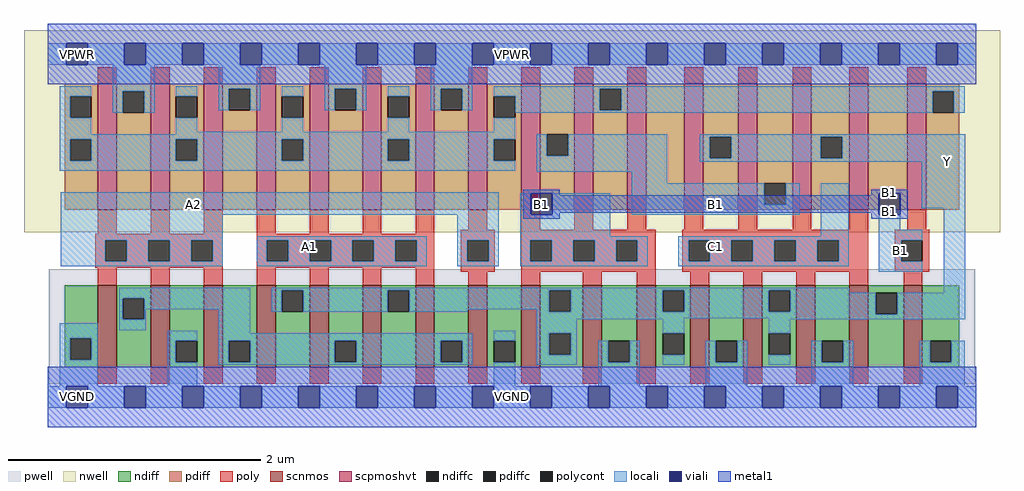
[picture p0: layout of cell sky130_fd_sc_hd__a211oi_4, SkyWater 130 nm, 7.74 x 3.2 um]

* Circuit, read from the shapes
.subckt sky130_fd_sc_hd__a211oi_4 A1 A2 B1 C1 VGND VNB VPB VPWR Y
XM1 n1 A2 VGND VNB sky130_fd_pr__nfet_01v8 w=0.65 l=0.15 m=4
XM2 Y A1 n1 VNB sky130_fd_pr__nfet_01v8 w=0.65 l=0.15 m=4
XM3 Y B1 VGND VNB sky130_fd_pr__nfet_01v8 w=0.65 l=0.15 m=4
XM4 VGND C1 Y VNB sky130_fd_pr__nfet_01v8 w=0.65 l=0.15 m=4
XM5 VPWR A2 n2 VPB sky130_fd_pr__pfet_01v8_hvt w=1 l=0.15 m=4
XM6 n2 A1 VPWR VPB sky130_fd_pr__pfet_01v8_hvt w=1 l=0.15 m=4
XM7 n3 B1 n2 VPB sky130_fd_pr__pfet_01v8_hvt w=1 l=0.15 m=2
XM8 n4 B1 n2 VPB sky130_fd_pr__pfet_01v8_hvt w=1 l=0.15
XM9 Y C1 n4 VPB sky130_fd_pr__pfet_01v8_hvt w=1 l=0.15
XM10 n3 C1 Y VPB sky130_fd_pr__pfet_01v8_hvt w=1 l=0.15 m=2
XM11 n5 C1 Y VPB sky130_fd_pr__pfet_01v8_hvt w=1 l=0.15
XM12 n2 B1 n5 VPB sky130_fd_pr__pfet_01v8_hvt w=1 l=0.15
.ends

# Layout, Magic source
magic
tech sky130A
magscale 1 2
<< nwell >>
rect -38 261 1510 582
<< pwell >>
rect 1 21 1471 203
rect 30 -17 64 21
<< scnmos >>
rect 79 47 109 177
rect 163 47 193 177
rect 247 47 277 177
rect 331 47 361 177
rect 415 47 445 177
rect 499 47 529 177
rect 583 47 613 177
rect 667 47 697 177
rect 751 47 781 177
rect 848 47 878 177
rect 934 47 964 177
rect 1019 47 1049 177
rect 1103 47 1133 177
rect 1187 47 1217 177
rect 1271 47 1301 177
rect 1357 47 1387 177
<< scpmoshvt >>
rect 79 297 109 497
rect 163 297 193 497
rect 247 297 277 497
rect 331 297 361 497
rect 415 297 445 497
rect 499 297 529 497
rect 583 297 613 497
rect 667 297 697 497
rect 751 297 781 497
rect 835 297 865 497
rect 919 297 949 497
rect 1009 297 1039 497
rect 1095 297 1125 497
rect 1181 297 1211 497
rect 1271 297 1301 497
rect 1363 297 1393 497
<< ndiff >>
rect 27 93 79 177
rect 27 59 35 93
rect 69 59 79 93
rect 27 47 79 59
rect 109 157 163 177
rect 109 123 119 157
rect 153 123 163 157
rect 109 47 163 123
rect 193 89 247 177
rect 193 55 203 89
rect 237 55 247 89
rect 193 47 247 55
rect 277 89 331 177
rect 277 55 287 89
rect 321 55 331 89
rect 277 47 331 55
rect 361 169 415 177
rect 361 135 371 169
rect 405 135 415 169
rect 361 47 415 135
rect 445 89 499 177
rect 445 55 455 89
rect 489 55 499 89
rect 445 47 499 55
rect 529 169 583 177
rect 529 135 539 169
rect 573 135 583 169
rect 529 47 583 135
rect 613 89 667 177
rect 613 55 623 89
rect 657 55 667 89
rect 613 47 667 55
rect 697 89 751 177
rect 697 55 707 89
rect 741 55 751 89
rect 697 47 751 55
rect 781 169 848 177
rect 781 135 795 169
rect 829 135 848 169
rect 781 101 848 135
rect 781 67 795 101
rect 829 67 848 101
rect 781 47 848 67
rect 878 89 934 177
rect 878 55 889 89
rect 923 55 934 89
rect 878 47 934 55
rect 964 169 1019 177
rect 964 135 975 169
rect 1009 135 1019 169
rect 964 101 1019 135
rect 964 67 975 101
rect 1009 67 1019 101
rect 964 47 1019 67
rect 1049 89 1103 177
rect 1049 55 1059 89
rect 1093 55 1103 89
rect 1049 47 1103 55
rect 1133 169 1187 177
rect 1133 135 1143 169
rect 1177 135 1187 169
rect 1133 101 1187 135
rect 1133 67 1143 101
rect 1177 67 1187 101
rect 1133 47 1187 67
rect 1217 89 1271 177
rect 1217 55 1227 89
rect 1261 55 1271 89
rect 1217 47 1271 55
rect 1301 165 1357 177
rect 1301 131 1313 165
rect 1347 131 1357 165
rect 1301 47 1357 131
rect 1387 89 1445 177
rect 1387 55 1399 89
rect 1433 55 1445 89
rect 1387 47 1445 55
<< pdiff >>
rect 27 477 79 497
rect 27 443 35 477
rect 69 443 79 477
rect 27 409 79 443
rect 27 375 35 409
rect 69 375 79 409
rect 27 297 79 375
rect 109 485 163 497
rect 109 451 119 485
rect 153 451 163 485
rect 109 297 163 451
rect 193 477 247 497
rect 193 443 203 477
rect 237 443 247 477
rect 193 409 247 443
rect 193 375 203 409
rect 237 375 247 409
rect 193 297 247 375
rect 277 489 331 497
rect 277 455 287 489
rect 321 455 331 489
rect 277 297 331 455
rect 361 477 415 497
rect 361 443 371 477
rect 405 443 415 477
rect 361 409 415 443
rect 361 375 371 409
rect 405 375 415 409
rect 361 297 415 375
rect 445 489 499 497
rect 445 455 455 489
rect 489 455 499 489
rect 445 297 499 455
rect 529 477 583 497
rect 529 443 539 477
rect 573 443 583 477
rect 529 409 583 443
rect 529 375 539 409
rect 573 375 583 409
rect 529 297 583 375
rect 613 489 667 497
rect 613 455 623 489
rect 657 455 667 489
rect 613 297 667 455
rect 697 477 751 497
rect 697 443 707 477
rect 741 443 751 477
rect 697 409 751 443
rect 697 375 707 409
rect 741 375 751 409
rect 697 297 751 375
rect 781 417 835 497
rect 781 383 791 417
rect 825 383 835 417
rect 781 297 835 383
rect 865 489 919 497
rect 865 455 875 489
rect 909 455 919 489
rect 865 297 919 455
rect 949 297 1009 497
rect 1039 413 1095 497
rect 1039 379 1050 413
rect 1084 379 1095 413
rect 1039 297 1095 379
rect 1125 339 1181 497
rect 1125 305 1136 339
rect 1170 305 1181 339
rect 1125 297 1181 305
rect 1211 413 1271 497
rect 1211 379 1226 413
rect 1260 379 1271 413
rect 1211 297 1271 379
rect 1301 297 1363 497
rect 1393 485 1445 497
rect 1393 451 1403 485
rect 1437 451 1445 485
rect 1393 297 1445 451
<< ndiffc >>
rect 35 59 69 93
rect 119 123 153 157
rect 203 55 237 89
rect 287 55 321 89
rect 371 135 405 169
rect 455 55 489 89
rect 539 135 573 169
rect 623 55 657 89
rect 707 55 741 89
rect 795 135 829 169
rect 795 67 829 101
rect 889 55 923 89
rect 975 135 1009 169
rect 975 67 1009 101
rect 1059 55 1093 89
rect 1143 135 1177 169
rect 1143 67 1177 101
rect 1227 55 1261 89
rect 1313 131 1347 165
rect 1399 55 1433 89
<< pdiffc >>
rect 35 443 69 477
rect 35 375 69 409
rect 119 451 153 485
rect 203 443 237 477
rect 203 375 237 409
rect 287 455 321 489
rect 371 443 405 477
rect 371 375 405 409
rect 455 455 489 489
rect 539 443 573 477
rect 539 375 573 409
rect 623 455 657 489
rect 707 443 741 477
rect 707 375 741 409
rect 791 383 825 417
rect 875 455 909 489
rect 1050 379 1084 413
rect 1136 305 1170 339
rect 1226 379 1260 413
rect 1403 451 1437 485
<< poly >>
rect 79 497 109 523
rect 163 497 193 523
rect 247 497 277 523
rect 331 497 361 523
rect 415 497 445 523
rect 499 497 529 523
rect 583 497 613 523
rect 667 497 697 523
rect 751 497 781 523
rect 835 497 865 523
rect 919 497 949 523
rect 1009 497 1039 523
rect 1095 497 1125 523
rect 1181 497 1211 523
rect 1271 497 1301 523
rect 1363 497 1393 523
rect 79 259 109 297
rect 163 259 193 297
rect 247 259 277 297
rect 75 249 277 259
rect 75 215 91 249
rect 125 215 159 249
rect 193 215 227 249
rect 261 215 277 249
rect 75 205 277 215
rect 79 177 109 205
rect 163 177 193 205
rect 247 177 277 205
rect 331 259 361 297
rect 415 259 445 297
rect 499 259 529 297
rect 583 259 613 297
rect 667 265 697 297
rect 751 265 781 297
rect 835 265 865 297
rect 919 265 949 297
rect 1009 265 1039 297
rect 1095 265 1125 297
rect 1181 265 1211 297
rect 1271 265 1301 297
rect 1363 265 1393 297
rect 331 249 613 259
rect 331 215 347 249
rect 381 215 415 249
rect 449 215 483 249
rect 517 215 551 249
rect 585 215 613 249
rect 331 205 613 215
rect 331 177 361 205
rect 415 177 445 205
rect 499 177 529 205
rect 583 177 613 205
rect 655 249 709 265
rect 655 215 665 249
rect 699 215 709 249
rect 655 199 709 215
rect 751 249 964 265
rect 751 215 765 249
rect 799 215 833 249
rect 867 215 901 249
rect 935 215 964 249
rect 751 199 964 215
rect 1006 249 1301 265
rect 1006 215 1016 249
rect 1050 215 1084 249
rect 1118 215 1152 249
rect 1186 215 1220 249
rect 1254 215 1301 249
rect 1006 199 1301 215
rect 1343 249 1398 265
rect 1343 215 1353 249
rect 1387 215 1398 249
rect 1343 199 1398 215
rect 667 177 697 199
rect 751 177 781 199
rect 848 177 878 199
rect 934 177 964 199
rect 1019 177 1049 199
rect 1103 177 1133 199
rect 1187 177 1217 199
rect 1271 177 1301 199
rect 1357 177 1387 199
rect 79 21 109 47
rect 163 21 193 47
rect 247 21 277 47
rect 331 21 361 47
rect 415 21 445 47
rect 499 21 529 47
rect 583 21 613 47
rect 667 21 697 47
rect 751 21 781 47
rect 848 21 878 47
rect 934 21 964 47
rect 1019 21 1049 47
rect 1103 21 1133 47
rect 1187 21 1217 47
rect 1271 21 1301 47
rect 1357 21 1387 47
<< polycont >>
rect 91 215 125 249
rect 159 215 193 249
rect 227 215 261 249
rect 347 215 381 249
rect 415 215 449 249
rect 483 215 517 249
rect 551 215 585 249
rect 665 215 699 249
rect 765 215 799 249
rect 833 215 867 249
rect 901 215 935 249
rect 1016 215 1050 249
rect 1084 215 1118 249
rect 1152 215 1186 249
rect 1220 215 1254 249
rect 1353 215 1387 249
<< locali >>
rect 0 527 29 561
rect 63 527 121 561
rect 155 527 213 561
rect 247 527 305 561
rect 339 527 397 561
rect 431 527 489 561
rect 523 527 581 561
rect 615 527 673 561
rect 707 527 765 561
rect 799 527 857 561
rect 891 527 949 561
rect 983 527 1041 561
rect 1075 527 1133 561
rect 1167 527 1225 561
rect 1259 527 1317 561
rect 1351 527 1409 561
rect 1443 527 1472 561
rect 19 477 69 493
rect 19 443 35 477
rect 103 485 169 527
rect 103 451 119 485
rect 153 451 169 485
rect 203 477 237 493
rect 19 417 69 443
rect 271 489 337 527
rect 271 455 287 489
rect 321 455 337 489
rect 371 477 405 493
rect 203 421 237 443
rect 439 489 505 527
rect 439 455 455 489
rect 489 455 505 489
rect 539 477 573 493
rect 371 421 405 443
rect 607 489 673 527
rect 607 455 623 489
rect 657 455 673 489
rect 707 489 1454 493
rect 707 477 875 489
rect 539 421 573 443
rect 741 455 875 477
rect 909 485 1454 489
rect 909 455 1403 485
rect 741 451 1403 455
rect 1437 451 1454 485
rect 707 421 741 443
rect 203 417 741 421
rect 19 409 741 417
rect 19 375 35 409
rect 69 375 203 409
rect 237 375 371 409
rect 405 375 539 409
rect 573 375 707 409
rect 19 359 741 375
rect 775 383 791 417
rect 825 383 982 417
rect 775 357 982 383
rect 1034 413 1455 417
rect 1034 379 1050 413
rect 1084 379 1226 413
rect 1260 379 1455 413
rect 1034 373 1455 379
rect 926 339 982 357
rect 20 289 715 325
rect 20 249 277 289
rect 332 249 601 255
rect 20 215 91 249
rect 125 215 159 249
rect 193 215 227 249
rect 261 215 277 249
rect 331 215 347 249
rect 381 215 415 249
rect 449 215 483 249
rect 517 215 551 249
rect 585 215 601 249
rect 20 207 277 215
rect 332 207 601 215
rect 649 249 715 289
rect 649 215 665 249
rect 699 215 715 249
rect 649 207 715 215
rect 749 289 766 323
rect 800 289 892 323
rect 926 305 1136 339
rect 1170 305 1192 339
rect 926 289 1192 305
rect 749 255 892 289
rect 1226 255 1270 339
rect 749 249 951 255
rect 749 215 765 249
rect 799 215 833 249
rect 867 215 901 249
rect 935 215 951 249
rect 749 207 951 215
rect 1000 249 1270 255
rect 1000 215 1016 249
rect 1050 215 1084 249
rect 1118 215 1152 249
rect 1186 215 1220 249
rect 1254 215 1270 249
rect 1000 207 1270 215
rect 1386 299 1455 373
rect 1318 265 1352 289
rect 1318 249 1387 265
rect 1318 215 1353 249
rect 1318 199 1387 215
rect 113 157 321 173
rect 113 123 119 157
rect 153 139 321 157
rect 153 123 155 139
rect 19 93 79 117
rect 113 106 155 123
rect 19 59 35 93
rect 69 59 79 93
rect 19 17 79 59
rect 190 89 237 105
rect 190 55 203 89
rect 190 17 237 55
rect 271 101 321 139
rect 355 169 1271 173
rect 355 135 371 169
rect 405 135 539 169
rect 573 139 795 169
rect 573 135 666 139
rect 775 135 795 139
rect 829 135 975 169
rect 1009 135 1143 169
rect 1177 165 1271 169
rect 1421 165 1455 299
rect 1177 135 1313 165
rect 775 131 1313 135
rect 1347 131 1455 165
rect 775 125 1455 131
rect 775 123 1009 125
rect 271 89 673 101
rect 271 55 287 89
rect 321 55 455 89
rect 489 55 623 89
rect 657 55 673 89
rect 271 51 673 55
rect 707 89 741 105
rect 707 17 741 55
rect 775 101 839 123
rect 775 67 795 101
rect 829 67 839 101
rect 975 101 1009 123
rect 775 51 839 67
rect 873 55 889 89
rect 923 55 939 89
rect 873 17 939 55
rect 1143 123 1455 125
rect 1143 101 1177 123
rect 975 51 1009 67
rect 1043 55 1059 89
rect 1093 55 1109 89
rect 1043 17 1109 55
rect 1143 51 1177 67
rect 1211 55 1227 89
rect 1261 55 1277 89
rect 1211 17 1277 55
rect 1383 55 1399 89
rect 1433 55 1454 89
rect 1383 17 1454 55
rect 0 -17 29 17
rect 63 -17 121 17
rect 155 -17 213 17
rect 247 -17 305 17
rect 339 -17 397 17
rect 431 -17 489 17
rect 523 -17 581 17
rect 615 -17 673 17
rect 707 -17 765 17
rect 799 -17 857 17
rect 891 -17 949 17
rect 983 -17 1041 17
rect 1075 -17 1133 17
rect 1167 -17 1225 17
rect 1259 -17 1317 17
rect 1351 -17 1409 17
rect 1443 -17 1472 17
<< viali >>
rect 29 527 63 561
rect 121 527 155 561
rect 213 527 247 561
rect 305 527 339 561
rect 397 527 431 561
rect 489 527 523 561
rect 581 527 615 561
rect 673 527 707 561
rect 765 527 799 561
rect 857 527 891 561
rect 949 527 983 561
rect 1041 527 1075 561
rect 1133 527 1167 561
rect 1225 527 1259 561
rect 1317 527 1351 561
rect 1409 527 1443 561
rect 766 289 800 323
rect 1318 289 1352 323
rect 29 -17 63 17
rect 121 -17 155 17
rect 213 -17 247 17
rect 305 -17 339 17
rect 397 -17 431 17
rect 489 -17 523 17
rect 581 -17 615 17
rect 673 -17 707 17
rect 765 -17 799 17
rect 857 -17 891 17
rect 949 -17 983 17
rect 1041 -17 1075 17
rect 1133 -17 1167 17
rect 1225 -17 1259 17
rect 1317 -17 1351 17
rect 1409 -17 1443 17
<< metal1 >>
rect 0 561 1472 592
rect 0 527 29 561
rect 63 527 121 561
rect 155 527 213 561
rect 247 527 305 561
rect 339 527 397 561
rect 431 527 489 561
rect 523 527 581 561
rect 615 527 673 561
rect 707 527 765 561
rect 799 527 857 561
rect 891 527 949 561
rect 983 527 1041 561
rect 1075 527 1133 561
rect 1167 527 1225 561
rect 1259 527 1317 561
rect 1351 527 1409 561
rect 1443 527 1472 561
rect 0 496 1472 527
rect 754 323 812 329
rect 754 289 766 323
rect 800 320 812 323
rect 1306 323 1364 329
rect 1306 320 1318 323
rect 800 292 1318 320
rect 800 289 812 292
rect 754 283 812 289
rect 1306 289 1318 292
rect 1352 289 1364 323
rect 1306 283 1364 289
rect 0 17 1472 48
rect 0 -17 29 17
rect 63 -17 121 17
rect 155 -17 213 17
rect 247 -17 305 17
rect 339 -17 397 17
rect 431 -17 489 17
rect 523 -17 581 17
rect 615 -17 673 17
rect 707 -17 765 17
rect 799 -17 857 17
rect 891 -17 949 17
rect 983 -17 1041 17
rect 1075 -17 1133 17
rect 1167 -17 1225 17
rect 1259 -17 1317 17
rect 1351 -17 1409 17
rect 1443 -17 1472 17
rect 0 -48 1472 -17
<< labels >>
flabel locali s 214 289 248 323 0 FreeSans 340 0 0 0 A2
port 2 nsew signal input
flabel locali s 398 221 432 255 0 FreeSans 340 0 0 0 A1
port 1 nsew signal input
flabel locali s 1042 221 1076 255 0 FreeSans 340 0 0 0 C1
port 4 nsew signal input
flabel locali s 1410 357 1444 391 0 FreeSans 340 0 0 0 Y
port 9 nsew signal output
flabel metal1 s 766 289 800 323 0 FreeSans 400 0 0 0 B1
port 3 nsew signal input
flabel metal1 s 30 527 64 561 0 FreeSans 200 0 0 0 VPWR
port 8 nsew power bidirectional abutment
flabel metal1 s 30 -17 64 17 0 FreeSans 200 0 0 0 VGND
port 5 nsew ground bidirectional abutment
flabel pwell s 30 -17 64 17 0 FreeSans 200 0 0 0 VNB
port 6 nsew ground bidirectional
flabel nwell s 30 527 64 561 0 FreeSans 200 0 0 0 VPB
port 7 nsew power bidirectional
rlabel comment s 0 0 0 0 4 a211oi_4
rlabel locali s 1318 265 1352 323 1 B1
port 3 nsew signal input
rlabel locali s 1318 199 1387 265 1 B1
port 3 nsew signal input
rlabel metal1 s 1306 320 1364 329 1 B1
port 3 nsew signal input
rlabel metal1 s 1306 283 1364 292 1 B1
port 3 nsew signal input
rlabel metal1 s 754 320 812 329 1 B1
port 3 nsew signal input
rlabel metal1 s 754 292 1364 320 1 B1
port 3 nsew signal input
rlabel metal1 s 754 283 812 292 1 B1
port 3 nsew signal input
rlabel metal1 s 0 -48 1472 48 1 VGND
port 5 nsew ground bidirectional abutment
rlabel metal1 s 0 496 1472 592 1 VPWR
port 8 nsew power bidirectional abutment
<< properties >>
string FIXED_BBOX 0 0 1472 544
string GDS_END 3645750
string GDS_FILE $PDKPATH/libs.ref/sky130_fd_sc_hd/gds/sky130_fd_sc_hd.gds
string GDS_START 3635170
string LEFclass CORE
string LEFsite unithd
string LEFsymmetry X Y R90
string path 0.000 0.000 36.800 0.000 
<< end >>
